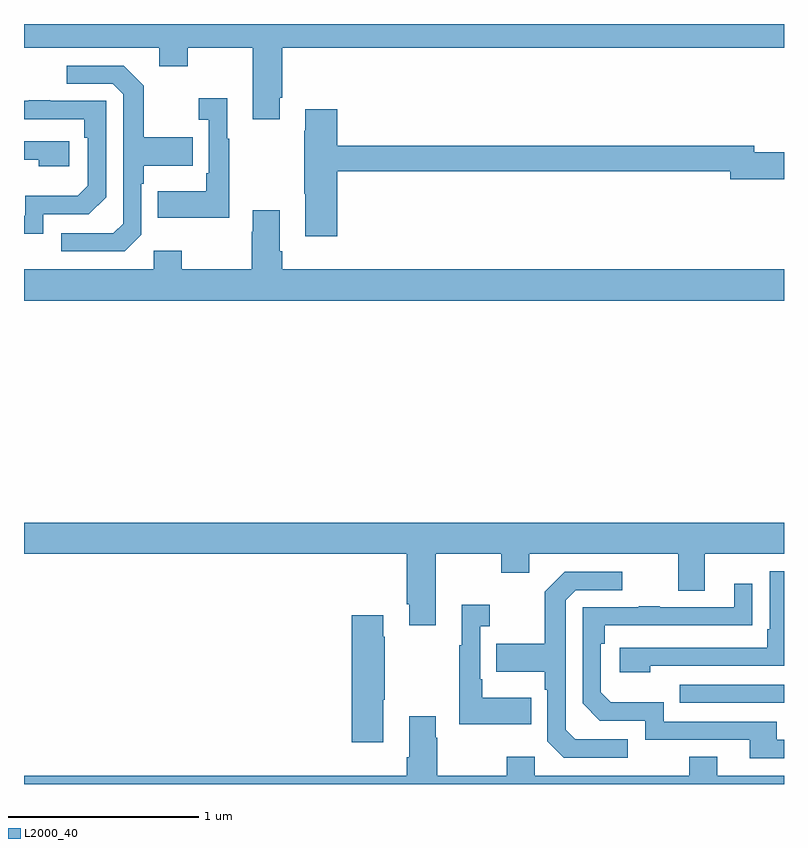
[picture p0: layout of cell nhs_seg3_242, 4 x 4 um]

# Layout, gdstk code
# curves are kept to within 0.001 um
import gdstk
lib = gdstk.Library(unit=1e-6, precision=1e-09)
def R(c, l, rs):  # rectangles x0, y0, x1, y1
    for r in rs: c.add(gdstk.rectangle(r[:2], r[2:], *l))
def P(c, l, *ps):  # polygons
    for p in ps: c.add(gdstk.Polygon(p, *l))
L2000_40 = (2000, 40)

nhs_seg3_242 = lib.new_cell('nhs_seg3_242')
R(nhs_seg3_242, L2000_40, [(126.451,670.827,127,670.923)])
P(nhs_seg3_242, L2000_40, [(124.345,674.011),(124.358,674.011),(124.358,674.276),(127,674.276),(127,674.4),(123,674.4),(123,674.276),(123.713,674.276),(123.713,674.177),(123.861,674.177),(123.861,674.276),(124.205,674.276),(124.205,673.899),(124.345,673.899)],
  [(123.618,673.29),(123.618,673.559),(123.631,673.559),(123.631,673.655),(123.887,673.655),(123.887,673.803),(123.631,673.803),(123.631,674.075),(123.525,674.181),(123.225,674.181),(123.225,674.085),(123.468,674.085),(123.522,674.031),(123.522,673.35),(123.471,673.299),(123.195,673.299),(123.195,673.203),(123.531,673.203)],
  [(124.081,673.795),(124.069,673.795),(124.069,674.008),(123.921,674.008),(123.921,673.895),(123.972,673.895),(123.972,673.615),(123.96,673.615),(123.96,673.519),(123.703,673.519),(123.703,673.379),(124.081,673.379)],
  [(123.102,673.398),(123.342,673.398),(123.432,673.488),(123.432,673.995),(123.137,673.995),(123.137,674),(123.025,674),(123.025,673.995),(123,673.995),(123,673.899),(123.316,673.899),(123.316,673.802),(123.336,673.802),(123.336,673.548),(123.283,673.495),(123.006,673.495),(123.006,673.392),(123,673.392),(123,673.296),(123.102,673.296)],
  [(124.649,673.624),(126.716,673.624),(126.716,673.582),(127,673.582),(127,673.724),(126.844,673.724),(126.844,673.76),(124.649,673.76),(124.649,673.951),(124.481,673.951),(124.481,673.838),(124.474,673.838),(124.474,673.507),(124.481,673.507),(124.481,673.284),(124.649,673.284)],
  [(123.238,673.782),(123,673.782),(123,673.686),(123.077,673.686),(123.077,673.652),(123.238,673.652)],
  [(127,673.108),(124.358,673.108),(124.358,673.204),(124.345,673.204),(124.345,673.42),(124.205,673.42),(124.205,673.307),(124.198,673.307),(124.198,673.108),(123.831,673.108),(123.831,673.207),(123.684,673.207),(123.684,673.108),(123,673.108),(123,672.944),(127,672.944)],
  [(125.167,671.612),(125.512,671.612),(125.512,671.513),(125.659,671.513),(125.659,671.612),(126.443,671.612),(126.443,671.418),(126.583,671.418),(126.583,671.612),(127,671.612),(127,671.776),(123,671.776),(123,671.612),(125.015,671.612),(125.015,671.347),(125.027,671.347),(125.027,671.235),(125.167,671.235)],
  [(126.296,671.022),(127,671.022),(127,671.52),(126.924,671.52),(126.924,671.215),(126.911,671.215),(126.911,671.118),(126.135,671.118),(126.135,670.988),(126.296,670.988)],
  [(126.178,670.635),(125.901,670.635),(125.85,670.686),(125.85,671.367),(125.904,671.421),(126.148,671.421),(126.148,671.517),(125.847,671.517),(125.742,671.411),(125.742,671.139),(125.485,671.139),(125.485,670.991),(125.742,670.991),(125.742,670.895),(125.754,670.895),(125.754,670.626),(125.841,670.539),(126.178,670.539)],
  [(127,670.632),(126.961,670.632),(126.961,670.728),(126.366,670.728),(126.366,670.831),(126.089,670.831),(126.036,670.884),(126.036,671.138),(126.056,671.138),(126.056,671.235),(126.833,671.236),(126.833,671.455),(126.737,671.455),(126.737,671.331),(126.347,671.331),(126.347,671.336),(126.235,671.336),(126.235,671.331),(125.94,671.331),(125.94,670.824),(126.03,670.734),(126.27,670.734),(126.27,670.632),(126.821,670.632),(126.821,670.536),(127,670.536)],
  [(125.669,670.855),(125.413,670.855),(125.413,670.951),(125.4,670.951),(125.4,671.231),(125.452,671.231),(125.452,671.344),(125.303,671.344),(125.303,671.131),(125.292,671.131),(125.292,670.715),(125.669,670.715)],
  [(124.891,670.843),(124.899,670.843),(124.899,671.174),(124.891,671.174),(124.891,671.287),(124.724,671.287),(124.724,670.62),(124.891,670.62)],
  [(127,670.444),(126.649,670.444),(126.649,670.543),(126.502,670.543),(126.502,670.444),(125.688,670.444),(125.688,670.543),(125.542,670.543),(125.542,670.444),(125.175,670.444),(125.175,670.643),(125.167,670.643),(125.167,670.756),(125.027,670.756),(125.027,670.54),(125.015,670.54),(125.015,670.444),(123,670.444),(123,670.4),(127,670.4)])

lib.write_gds('nhs_seg3_242.gds')
